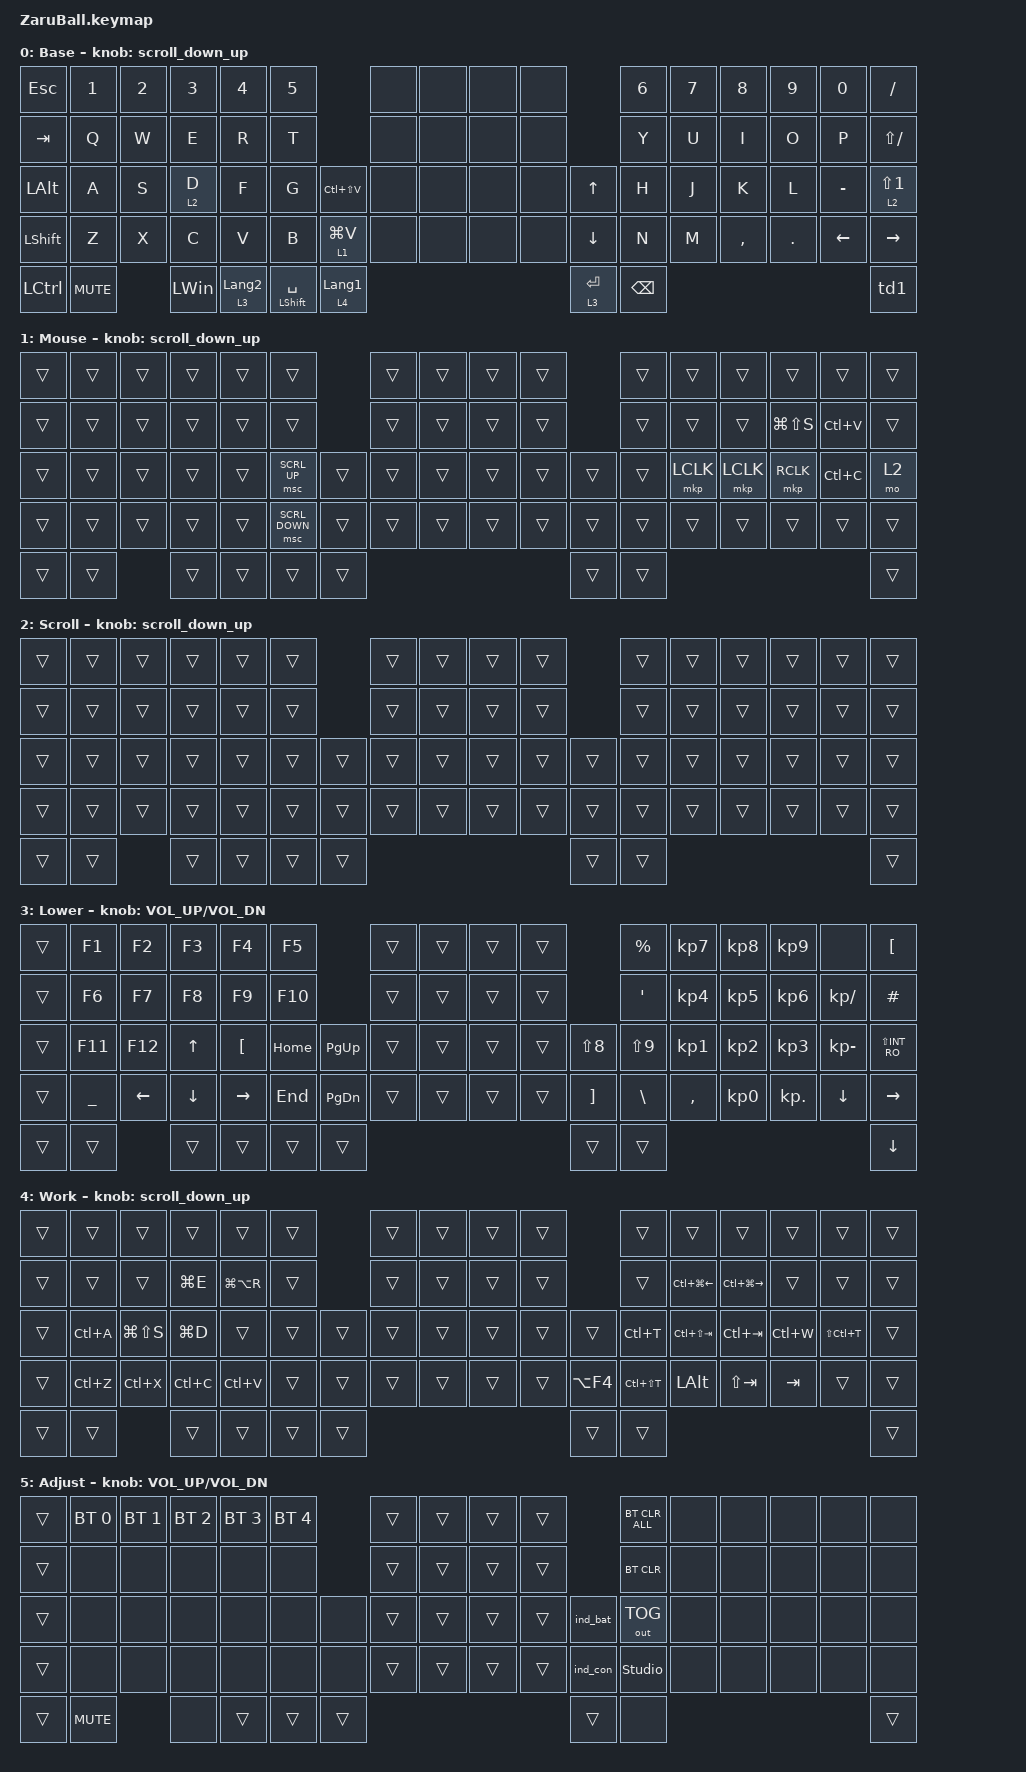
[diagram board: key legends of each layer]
//#include <dt-bindings/zmk/mouse.h>

#include <behaviors/rgbled_widget.dtsi>
#include <input/processors.dtsi>
#include <dt-bindings/zmk/input_transform.h>
#include <behaviors.dtsi>
#include <dt-bindings/zmk/bt.h>
#include <dt-bindings/zmk/keys.h>
#include <dt-bindings/zmk/outputs.h>
#include <dt-bindings/zmk/pointing.h>

#define BASE     0
#define MOUSE    1
#define SCROLL   2
#define LOWER    3
#define WORK     4
#define ADJUST   5

// スクロール量の設定

#define ZMK_POINTING_DEFAULT_SCRL_VAL 100

&trackball_listener {
    input-processors = <
                         &zip_xy_transform (INPUT_TRANSFORM_XY_SWAP | INPUT_TRANSFORM_Y_INVERT | INPUT_TRANSFORM_X_INVERT)
                         &zip_temp_layer MOUSE 500
    >;

    scroller {
        layers = <SCROLL>;
        input-processors = <
                            &zip_xy_transform (INPUT_TRANSFORM_XY_SWAP | INPUT_TRANSFORM_X_INVERT)
                            &zip_xy_scaler 1 20
                            &zip_xy_to_scroll_mapper
        >;
    };
};

/ {
    conditional_layers {
        compatible = "zmk,conditional-layers";

        tri_layer {
            if-layers = <3 4>;
            then-layer = <5>;
        };
    };
};

/ {
    behaviors {
        // スクロール用のbehaviorの設定

        scroll_down_up: behavior_sensor_rotate_mouse_wheel_down_up {
            compatible = "zmk,behavior-sensor-rotate";
            #sensor-binding-cells = <0>;
            bindings = <&msc SCRL_DOWN>, <&msc SCRL_UP>;

            tap-ms = <20>; // スクロールのタップ時間
        };

        td0: tap_dance_0 {
            compatible = "zmk,behavior-tap-dance";
            #binding-cells = <0>;
            tapping-term-ms = <200>;
            bindings = <&mt LALT LANG2>, <&mo 0>, <&mo 1>;
        };

        td1: tap_dance_1 {
            compatible = "zmk,behavior-tap-dance";
            #binding-cells = <0>;
            tapping-term-ms = <200>;
            bindings = <&mt RCTL LANG1>, <&mo 0>, <&mo 0>;
        };

        // Customed Hold-Tap for SandS

        SandS: SandS {
            compatible = "zmk,behavior-hold-tap";
            #binding-cells = <2>;
            flavor = "tap-unless-interrupted";
            tapping-term-ms = <500>;
            quick-tap-ms = <500>;
            bindings = <&kp>, <&kp>;

            display-name = "SandS";
        };
    };
};

&sl { release-after-ms = <250>; }; // time needed for double click (for mkp_exit_AML)
/ {
    macros {
        // When in AML, move to default layer when key (except mouse button) pressed

        to_layer_0: to_layer_0 {
            compatible = "zmk,behavior-macro-one-param";
            #binding-cells = <1>;
            bindings = <&tog 1 &macro_param_1to1 &kp MACRO_PLACEHOLDER>;
            label = "TO_layer_0";
        };

        // When LCLK pressed, exit AML (after 250ms cause by sticky layer

        mkp_exit_AML: mkp_exit_AML {
            compatible = "zmk,behavior-macro-one-param";
            #binding-cells = <1>;
            bindings =
                <&macro_press>,
                <&macro_param_1to1 &mkp MACRO_PLACEHOLDER>,
                <&macro_pause_for_release>,
                <&macro_release>,
                <&macro_param_1to1 &mkp MACRO_PLACEHOLDER>,
                <&macro_tap>,
                <&sl 1>;

            label = "MKP_EXIT_AML";
        };

        copy: copy {
            compatible = "zmk,behavior-macro";
            #binding-cells = <0>;
            bindings =
                <&macro_press>,
                <&kp LEFT_CONTROL &kp C>,
                <&macro_release>,
                <&kp C &kp LEFT_CONTROL>;

            label = "COPY";
        };

        paste: paste {
            compatible = "zmk,behavior-macro";
            #binding-cells = <0>;
            bindings =
                <&macro_press>,
                <&kp LEFT_CONTROL &kp V>,
                <&macro_release>,
                <&kp V &kp LEFT_CONTROL>;

            label = "PASTE";
        };
    };
};

/ {
    keymap {
        compatible = "zmk,keymap";

        base_layer {
            display-name = "Base";
            sensor-bindings = <&scroll_down_up>;
            bindings = <
&kp ESC           &kp N1      &kp N2  &kp N3        &kp N4            &kp N5                               &none  &none  &none  &none                  &kp NUMBER_6  &kp N7  &kp N8     &kp N9   &kp N0          &kp SLASH
&kp TAB           &kp Q       &kp W   &kp E         &kp R             &kp T                                &none  &none  &none  &none                  &kp Y         &kp U   &kp I      &kp O    &kp P           &kp LS(FSLH)
&kp LEFT_ALT      &kp A       &kp S   &lt 2 D       &kp F             &kp G            &kp LC(LS(V))       &none  &none  &none  &none    &kp UP_ARROW  &kp H         &kp J   &kp K      &kp L    &kp MINUS       &lt 2 LS(N1)
&kp LSHFT         &kp Z       &kp X   &kp C         &kp V             &kp B            &lt 1 LG(V)         &none  &none  &none  &none    &kp DOWN      &kp N         &kp M   &kp COMMA  &kp DOT  &kp LEFT_ARROW  &kp RIGHT_ARROW
&kp LEFT_CONTROL  &kp C_MUTE          &kp LEFT_WIN  &lt 3 LANGUAGE_2  &mt LSHFT SPACE  &lt 4 LANGUAGE_1                                  &lt 3 RET     &kp BSPC                                                  &td1
            >;
        };

        mouse_layer {
            display-name = "Mouse";
            sensor-bindings = <&scroll_down_up>;
            bindings = <
&trans  &trans  &trans  &trans  &trans  &trans                    &trans  &trans  &trans  &trans            &trans  &trans     &trans     &trans         &trans     &trans
&trans  &trans  &trans  &trans  &trans  &trans                    &trans  &trans  &trans  &trans            &trans  &trans     &trans     &kp LG(LS(S))  &kp LC(V)  &trans
&trans  &trans  &trans  &trans  &trans  &msc SCRL_UP    &trans    &trans  &trans  &trans  &trans    &trans  &trans  &mkp LCLK  &mkp LCLK  &mkp RCLK      &kp LC(C)  &mo 2
&trans  &trans  &trans  &trans  &trans  &msc SCRL_DOWN  &trans    &trans  &trans  &trans  &trans    &trans  &trans  &trans     &trans     &trans         &trans     &trans
&trans  &trans          &trans  &trans  &trans          &trans                                      &trans  &trans                                                  &trans
            >;
        };

        scroll_layer {
            display-name = "Scroll";
            sensor-bindings = <&scroll_down_up>;
            bindings = <
&trans  &trans  &trans  &trans  &trans  &trans            &trans  &trans  &trans  &trans            &trans  &trans  &trans  &trans  &trans  &trans
&trans  &trans  &trans  &trans  &trans  &trans            &trans  &trans  &trans  &trans            &trans  &trans  &trans  &trans  &trans  &trans
&trans  &trans  &trans  &trans  &trans  &trans  &trans    &trans  &trans  &trans  &trans    &trans  &trans  &trans  &trans  &trans  &trans  &trans
&trans  &trans  &trans  &trans  &trans  &trans  &trans    &trans  &trans  &trans  &trans    &trans  &trans  &trans  &trans  &trans  &trans  &trans
&trans  &trans          &trans  &trans  &trans  &trans                                      &trans  &trans                                  &trans
            >;
        };

        lower_layer {
            display-name = "Lower";
            sensor-bindings = <&inc_dec_kp C_VOL_UP C_VOL_DN>;
            bindings = <
&trans  &kp F1          &kp F2    &kp F3    &kp F4            &kp F5                 &trans  &trans  &trans  &trans                &kp PERCENT       &kp KP_N7  &kp KP_N8  &kp KP_N9   &none         &kp LBKT
&trans  &kp F6          &kp F7    &kp F8    &kp F9            &kp F10                &trans  &trans  &trans  &trans                &kp SINGLE_QUOTE  &kp KP_N4  &kp KP_N5  &kp KP_N6   &kp KP_SLASH  &kp HASH
&trans  &kp F11         &kp F12   &kp UP    &kp LEFT_BRACKET  &kp HOME  &kp PG_UP    &trans  &trans  &trans  &trans    &kp LS(N8)  &kp LS(N9)        &kp KP_N1  &kp KP_N2  &kp KP_N3   &kp KP_MINUS  &kp LS(INT_RO)
&trans  &kp UNDERSCORE  &kp LEFT  &kp DOWN  &kp RIGHT         &kp END   &kp PG_DN    &trans  &trans  &trans  &trans    &kp RBKT    &kp BACKSLASH     &kp COMMA  &kp KP_N0  &kp KP_DOT  &kp DOWN      &kp RIGHT
&trans  &trans                    &trans    &trans            &trans    &trans                                         &trans      &trans                                                            &kp DOWN_ARROW
            >;
        };

        work_layer {
            display-name = "Work";
            sensor-bindings = <&scroll_down_up>;
            bindings = <
&trans  &trans     &trans         &trans     &trans         &trans            &trans  &trans  &trans  &trans                &trans         &trans            &trans             &trans     &trans         &trans
&trans  &trans     &trans         &kp LG(E)  &kp LG(LA(R))  &trans            &trans  &trans  &trans  &trans                &trans         &kp LC(LG(LEFT))  &kp LC(LG(RIGHT))  &trans     &trans         &trans
&trans  &kp LC(A)  &kp LG(LS(S))  &kp LG(D)  &trans         &trans  &trans    &trans  &trans  &trans  &trans    &trans      &kp LC(T)      &kp LC(LS(TAB))   &kp LC(TAB)        &kp LC(W)  &kp LS(LC(T))  &trans
&trans  &kp LC(Z)  &kp LC(X)      &kp LC(C)  &kp LC(V)      &trans  &trans    &trans  &trans  &trans  &trans    &kp LA(F4)  &kp LC(LS(T))  &kp LALT          &kp LS(TAB)        &kp TAB    &trans         &trans
&trans  &trans                    &trans     &trans         &trans  &trans                                      &trans      &trans                                                                        &trans
            >;
        };

        adjust_layer {
            display-name = "Adjust";
            sensor-bindings = <&inc_dec_kp C_VOL_UP C_VOL_DN>;
            bindings = <
&trans  &bt BT_SEL 0  &bt BT_SEL 1  &bt BT_SEL 2  &bt BT_SEL 3  &bt BT_SEL 4            &trans  &trans  &trans  &trans              &bt BT_CLR_ALL  &none  &none  &none  &none  &none
&trans  &none         &none         &none         &none         &none                   &trans  &trans  &trans  &trans              &bt BT_CLR      &none  &none  &none  &none  &none
&trans  &none         &none         &none         &none         &none         &none     &trans  &trans  &trans  &trans    &ind_bat  &out OUT_TOG    &none  &none  &none  &none  &none
&trans  &none         &none         &none         &none         &none         &none     &trans  &trans  &trans  &trans    &ind_con  &studio_unlock  &none  &none  &none  &none  &none
&trans  &kp C_MUTE                  &none         &trans        &trans        &trans                                      &trans    &none                                       &trans
            >;
        };
    };
};
